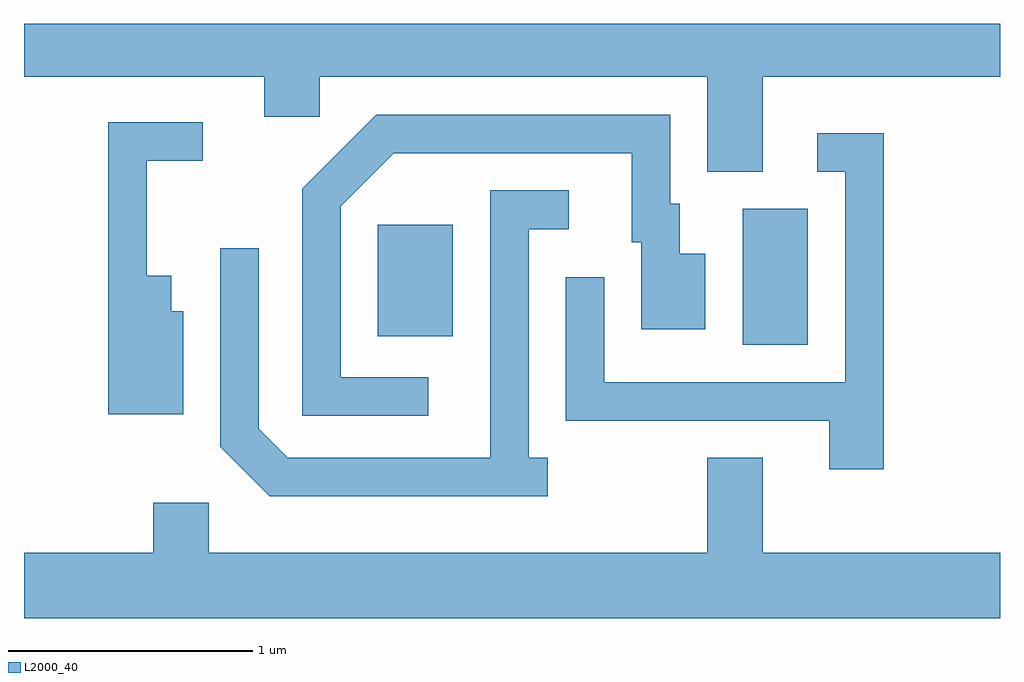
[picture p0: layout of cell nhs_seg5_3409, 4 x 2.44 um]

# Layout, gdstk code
import gdstk
lib = gdstk.Library(unit=1e-6, precision=1e-09)
def R(c, l, rs):  # rectangles x0, y0, x1, y1
    for r in rs: c.add(gdstk.rectangle(r[:2], r[2:], *l))
def P(c, l, *ps):  # polygons
    for p in ps: c.add(gdstk.Polygon(p, *l))
L2000_40 = (2000, 40)

nhs_seg5_3409 = lib.new_cell('nhs_seg5_3409')
R(nhs_seg5_3409, L2000_40, [(288.556,1506.756,288.824,1507.314), (287.061,1506.791,287.369,1507.249)])
P(nhs_seg5_3409, L2000_40, [(288.639,1507.856),(289.611,1507.856),(289.611,1508.072),(285.611,1508.072),(285.611,1507.856),(286.596,1507.856),(286.596,1507.691),(286.824,1507.691),(286.824,1507.856),(288.411,1507.856),(288.411,1507.466),(288.639,1507.466)],
  [(287.268,1506.624),(286.909,1506.624),(286.909,1507.324),(287.127,1507.541),(288.101,1507.541),(288.101,1507.176),(288.141,1507.176),(288.141,1506.821),(288.404,1506.821),(288.404,1507.129),(288.299,1507.129),(288.299,1507.334),(288.259,1507.334),(288.259,1507.699),(287.054,1507.699),(286.751,1507.397),(286.751,1506.466),(287.268,1506.466)],
  [(286.264,1506.894),(286.214,1506.894),(286.214,1507.039),(286.114,1507.039),(286.114,1507.511),(286.343,1507.511),(286.343,1507.669),(285.956,1507.669),(285.956,1506.471),(286.264,1506.471)],
  [(289.134,1507.624),(288.863,1507.624),(288.863,1507.466),(288.976,1507.466),(288.976,1506.604),(287.989,1506.604),(287.989,1507.033),(287.831,1507.033),(287.831,1506.446),(288.911,1506.446),(288.911,1506.246),(289.134,1506.246)],
  [(287.758,1506.294),(287.679,1506.294),(287.679,1507.231),(287.843,1507.231),(287.843,1507.389),(287.521,1507.389),(287.521,1506.294),(286.692,1506.294),(286.574,1506.412),(286.574,1507.153),(286.416,1507.153),(286.416,1506.339),(286.619,1506.136),(287.758,1506.136)],
  [(289.611,1505.904),(288.639,1505.904),(288.639,1506.294),(288.411,1506.294),(288.411,1505.904),(286.369,1505.904),(286.369,1506.109),(286.141,1506.109),(286.141,1505.904),(285.611,1505.904),(285.611,1505.636),(289.611,1505.636)])

lib.write_gds('nhs_seg5_3409.gds')
